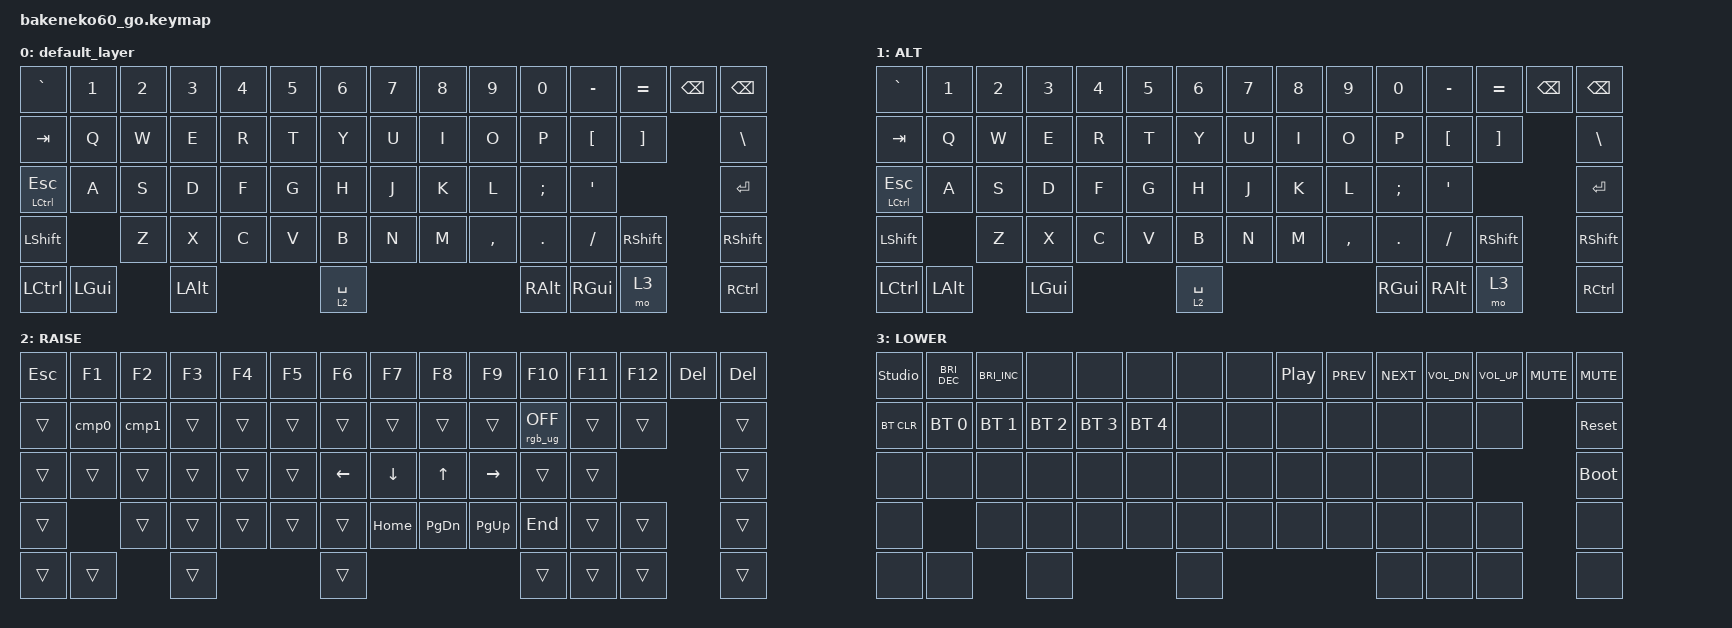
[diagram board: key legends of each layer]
/*
 * Copyright (c) 2023 Andrew Kannan
 *
 * SPDX-License-Identifier: MIT
 */

#include <behaviors.dtsi>
#include <dt-bindings/zmk/bt.h>
#include <dt-bindings/zmk/keys.h>
#include <dt-bindings/zmk/rgb.h>

/ {
    macros {
        cmp0: cmp0 {
            compatible = "zmk,behavior-macro";
            #binding-cells = <0>;
            bindings = <&bt BT_SEL 0 &to 0>;
            label = "CMP0";
        };

        cmp1: cmp1 {
            compatible = "zmk,behavior-macro";
            #binding-cells = <0>;
            bindings = <&bt BT_SEL 1 &to 1>;
            label = "CMP1";
        };
    };

    keymap {
        compatible = "zmk,keymap";

        default_layer {
            // ------------------------------------------------------------------------------------------
            // |  `  |  1  |  2  |  3  |  4  |  5  |  6  |  7  |  8  |  9  |  0  |  -  |  =  | BKSP|BKSP|
            // | TAB  |  Q  |  W  |  E  |  R  |  T  |  Y  |  U  |  I  |  O  |  P  |  [  |  ]  |   "|"   |
            // |CTL/ESC|  A  |  S  |  D  |  F  |  G  |  H  |  J  |  K  |  L  |  ;  |  '  |     ENTER    |
            // |  SHIFT  |  Z  |  X  |  C  |  V  |  B  |  N  |  M  |  ,  |  .  |  /  |  SHIFT  | SHIFT  |
            // |  CTL  |  WIN  |  ALT  |      MO(1) SPACE              |  ALT  |  WIN  |  MO(2) |  CTL  |
            // ------------------------------------------------------------------------------------------

            bindings = <
&kp GRAVE      &kp N1    &kp N2  &kp N3    &kp N4  &kp N5  &kp N6       &kp N7  &kp N8  &kp N9     &kp N0    &kp MINUS  &kp EQUAL  &kp BSPC  &kp BSPC
&kp TAB        &kp Q     &kp W   &kp E     &kp R   &kp T   &kp Y        &kp U   &kp I   &kp O      &kp P     &kp LBKT   &kp RBKT             &kp BSLH
&mt LCTRL ESC  &kp A     &kp S   &kp D     &kp F   &kp G   &kp H        &kp J   &kp K   &kp L      &kp SEMI  &kp SQT                         &kp RET
&kp LSHFT                &kp Z   &kp X     &kp C   &kp V   &kp B        &kp N   &kp M   &kp COMMA  &kp DOT   &kp FSLH   &kp RSHFT            &kp RSHFT
&kp LCTRL      &kp LGUI          &kp LALT                  &lt 2 SPACE                             &kp RALT  &kp RGUI   &mo 3                &kp RCTRL
            >;
        };

        ALT {
            bindings = <
&kp GRAVE      &kp N1    &kp N2  &kp N3    &kp N4  &kp N5  &kp N6       &kp N7  &kp N8  &kp N9     &kp N0    &kp MINUS  &kp EQUAL  &kp BSPC  &kp BSPC
&kp TAB        &kp Q     &kp W   &kp E     &kp R   &kp T   &kp Y        &kp U   &kp I   &kp O      &kp P     &kp LBKT   &kp RBKT             &kp BSLH
&mt LCTRL ESC  &kp A     &kp S   &kp D     &kp F   &kp G   &kp H        &kp J   &kp K   &kp L      &kp SEMI  &kp SQT                         &kp RET
&kp LSHFT                &kp Z   &kp X     &kp C   &kp V   &kp B        &kp N   &kp M   &kp COMMA  &kp DOT   &kp FSLH   &kp RSHFT            &kp RSHFT
&kp LCTRL      &kp LALT          &kp LGUI                  &lt 2 SPACE                             &kp RGUI  &kp RALT   &mo 3                &kp RCTRL
            >;
        };

        RAISE {
            bindings = <
&kp ESC  &kp F1  &kp F2  &kp F3  &kp F4  &kp F5  &kp F6    &kp F7    &kp F8     &kp F9     &kp F10          &kp F11  &kp F12  &kp DEL  &kp DEL
&trans   &cmp0   &cmp1   &trans  &trans  &trans  &trans    &trans    &trans     &trans     &rgb_ug RGB_OFF  &trans   &trans            &trans
&trans   &trans  &trans  &trans  &trans  &trans  &kp LEFT  &kp DOWN  &kp UP     &kp RIGHT  &trans           &trans                     &trans
&trans           &trans  &trans  &trans  &trans  &trans    &kp HOME  &kp PG_DN  &kp PG_UP  &kp END          &trans   &trans            &trans
&trans   &trans          &trans                  &trans                                    &trans           &trans   &trans            &trans
            >;
        };

        LOWER {
            bindings = <
&studio_unlock  &kp C_BRIGHTNESS_DEC  &kp C_BRIGHTNESS_INC  &none         &none         &none         &none  &none  &kp C_PP  &kp C_PREV  &kp C_NEXT  &kp C_VOL_DN  &kp C_VOL_UP  &kp C_MUTE  &kp C_MUTE
&bt BT_CLR      &bt BT_SEL 0          &bt BT_SEL 1          &bt BT_SEL 2  &bt BT_SEL 3  &bt BT_SEL 4  &none  &none  &none     &none       &none       &none         &none                     &sys_reset
&none           &none                 &none                 &none         &none         &none         &none  &none  &none     &none       &none       &none                                   &bootloader
&none                                 &none                 &none         &none         &none         &none  &none  &none     &none       &none       &none         &none                     &none
&none           &none                                       &none                                     &none                               &none       &none         &none                     &none
            >;
        };

        // rgb_layer {
        // // ------------------------------------------------------------------------------------------------
        // // |    `   | F1  | F2  | F3  | F4  | F5  | F6  | F7  | F8  | F9  | F10  | F11 | F12 |     | DEL  |
        // // | EFCT REV|   |  UP |   | HUEUP | SATUP | BRIUP | SPDUP |      |  PGUP |    |     |    |       |
        // // | EFCT FWD | LT |  DN  | RT | HUEDN | SATDN | BRIDN | SPDDN | HOME | PGDN | END  |  | BOOTLDR  |
        // // |             |     |      |      |     |     |     |     |     |     |     |         |        |
        // // |         |      |      |             TOG RGB                | PRT SCR |       |       |  MO(2)|
        // // ------------------------------------------------------------------------------------------------
        //     bindings = <
        // &kp GRAVE &kp F1    &kp F2    &kp F3  &kp F4           &kp F5          &kp F6          &kp F7          &kp F8   &kp F9   &kp F10  &kp F11 &kp F12  &trans &kp DEL
        // &rgb_ug RGB_EFR &trans    &kp UP    &trans  &rgb_ug RGB_HUI  &rgb_ug RGB_SAI &rgb_ug RGB_BRI &rgb_ug RGB_SPI  &trans   &kp PGUP   &trans   &trans  &trans    &trans
        // &rgb_ug RGB_EFF &kp LEFT  &kp DOWN  &kp RIGHT &rgb_ug RGB_HUD &rgb_ug RGB_SAD &rgb_ug RGB_BRD &rgb_ug RGB_SPD &kp HOME &kp PGDN &kp END   &trans        &bootloader
        // &trans       &trans    &trans    &trans   &trans          &trans          &trans          &trans          &trans   &trans   &trans                 &trans  &trans
        // &trans       &trans   &trans                            &rgb_ug RGB_TOG                                      &kp PSCRN      &trans      &trans              &mo 2
        //     >;
        // };
        // bluetooth_layer {
        // // ------------------------------------------------------------------------------------------------
        // // | BT CLR |     |     |     |     |     |     |     |     |     |     |    |    |       |       |
        // // |  BT 1   |   |     |   |       |       |       |       |   |     |    |     |     |           |
        // // |   BT 2   |    |      |    |       |       |       |       |      |      |      |  |   Reset  |
        // // |    BT 3     |     |      |      |     |     |     |     |     |     |     |         |        |
        // // |   BT 4  |      |      |                                    |         |       |       |       |
        // // ------------------------------------------------------------------------------------------------
        //     bindings = <
        // &bt BT_CLR   &trans    &trans    &trans  &trans           &trans          &trans     &trans      &trans   &trans   &trans  &trans &trans  &trans &trans
        // &bt BT_SEL 0  &trans    &trans    &trans  &trans  &trans &trans &trans  &trans   &trans   &trans   &trans  &trans        &trans
        // &bt BT_SEL 1   &trans  &trans  &trans &trans &trans &trans &trans &trans &trans &trans   &trans        &sys_reset
        // &bt BT_SEL 2    &trans    &trans    &trans   &trans          &trans          &trans          &trans          &trans   &trans   &trans     &trans  &trans
        // &bt BT_SEL 3  &trans   &trans                            &trans                                      &trans      &trans      &trans               &trans
        //     >;
        // };
    };

    // combos {
    //     compatible = "zmk,combos";
    //     combo_bt {
    //         timeout-ms = <50>;
    //         key-positions = <61 62>;
    //         bindings = <&mo 2>;
    //     };
    // };
};
